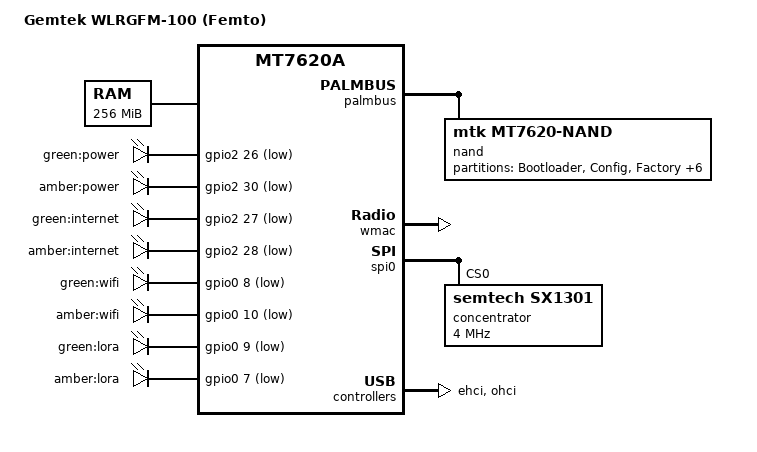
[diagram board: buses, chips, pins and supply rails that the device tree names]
#include "mt7620a.dtsi"
#include <dt-bindings/gpio/gpio.h>

/ {
 compatible = "gemtek,wlrgfm-100", "ralink,mt7620a-soc";
 model = "Gemtek WLRGFM-100 (Femto)";
 memory@0 { device_type = "memory"; reg = <0x0 0x10000000>; };
 chosen { bootargs = "console=ttyS0,57600 root=/dev/ubiblock0_0 rootfstype=squashfs"; };
 aliases {
  led-boot = &led_power_green;
  led-failsafe = &led_power_amber;
  led-running = &led_power_green;
  led-upgrade = &led_power_amber;
 };
 leds {
  compatible = "gpio-leds";
  led_power_green: power-green { label = "green:power"; gpios = <&gpio2 26 GPIO_ACTIVE_LOW>; default-state = "on"; };
  led_power_amber: power-amber { label = "amber:power"; gpios = <&gpio2 30 GPIO_ACTIVE_LOW>; };
  internet-green { label = "green:internet"; gpios = <&gpio2 27 GPIO_ACTIVE_LOW>; };
  internet-amber { label = "amber:internet"; gpios = <&gpio2 28 GPIO_ACTIVE_LOW>; };
  wifi-green { label = "green:wifi"; gpios = <&gpio0 8 GPIO_ACTIVE_LOW>; };
  wifi-amber { label = "amber:wifi"; gpios = <&gpio0 10 GPIO_ACTIVE_LOW>; };
  lora-green { label = "green:lora"; gpios = <&gpio0 9 GPIO_ACTIVE_LOW>; };
  lora-amber { label = "amber:lora"; gpios = <&gpio0 7 GPIO_ACTIVE_LOW>; };
 };

};

&palmbus {
 nand@810 {
  compatible = "mtk,mt7620-nand";
  reg = <0x810 0x100>;
  partitions {
   compatible = "fixed-partitions";
   #address-cells = <1>;
   #size-cells = <1>;
   partition@0 { label = "Bootloader"; reg = <0x0 0x80000>; read-only; };
   partition@80000 { label = "Config"; reg = <0x80000 0x80000>; read-only; };
   factory: partition@100000 { label = "Factory"; reg = <0x100000 0x40000>; read-only; };
   partition@140000 { label = "kernel"; reg = <0x140000 0x800000>; };
   partition@940000 { label = "ubi"; reg = <0x940000 0x1600000>; };
   partition@1f40000 { label = "firmware2"; reg = <0x1f40000 0x1e00000>; read-only; };
   partition@3d40000 { label = "stock_rootfs_data"; reg = <0x3d40000 0x1400000>; read-only; };
   partition@5140000 { label = "data"; reg = <0x5140000 0x14a00000>; read-only; };
   partition@19b40000 { label = "reserved"; reg = <0x19b40000 0x64c0000>; read-only; };
  };
 };
};

&factory {
 compatible = "nvmem-cells";
 #address-cells = <1>;
 #size-cells = <1>;
 macaddr_factory_4: macaddr@4 { reg = <0x4 0x6>; };
};

&ethernet {
 mediatek,portmap = "lllll";
 nvmem-cells = <&macaddr_factory_4>;
 nvmem-cell-names = "mac-address";
 /* Factory stores Wi-Fi MAC; vendor Ethernet MAC is one lower. */
 mac-address-increment = <(-1)>;
};
&gsw { mediatek,port4 = "ephy"; };
&wmac { status = "okay"; ralink,mtd-eeprom = <&factory 0>; };
&pcie { status = "disabled"; };
&gpio1 { status = "okay"; };
&gpio2 { status = "okay"; };
&spi0 {
 status = "okay";
 /* Match vendor SPICFG: idle low, both independent RX/TX edges falling. */
 ralink,rx-falling-edge;
 concentrator@0 {
  compatible = "semtech,sx1301";
  reg = <0>;
  spi-max-frequency = <4000000>;
 };
};
&spi1 { status = "disabled"; };
&sdhci { status = "disabled"; };
&ehci { status = "okay"; };
&ohci { status = "okay"; };

&state_default {
 gpio { groups = "rgmii1", "rgmii2", "uartf"; function = "gpio"; };
};
